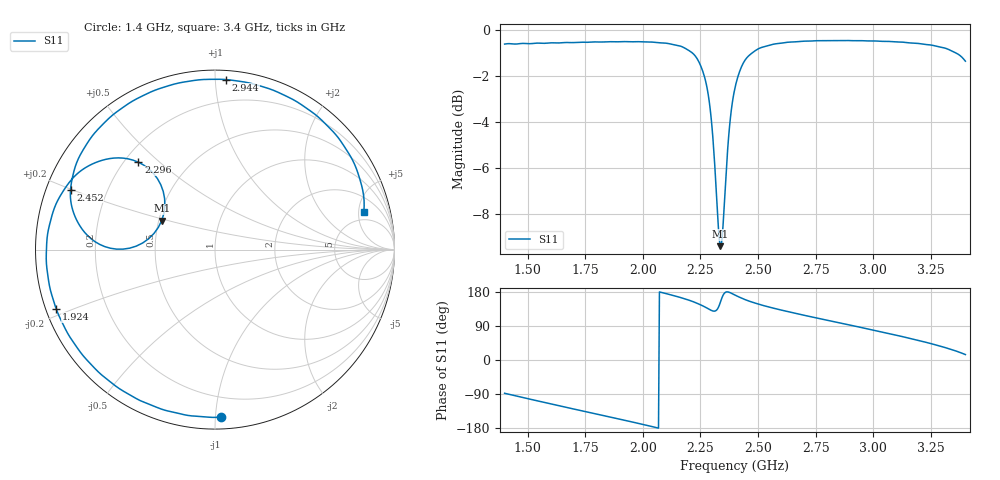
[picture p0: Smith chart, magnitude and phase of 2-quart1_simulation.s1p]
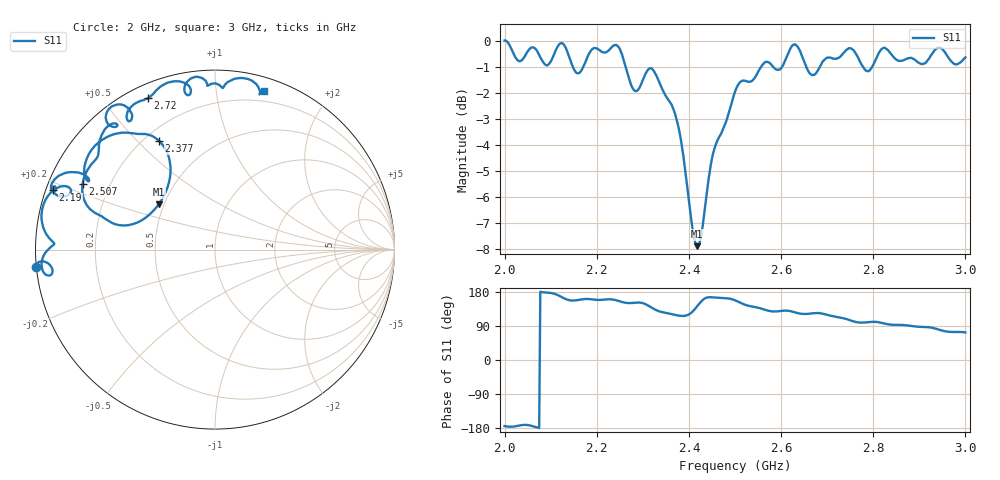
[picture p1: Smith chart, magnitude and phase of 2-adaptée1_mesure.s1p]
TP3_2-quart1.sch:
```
<Qucs Schematic 0.0.19>
<Properties>
  <View=0,0,1569,800,1,20,0>
  <Grid=10,10,1>
  <DataSet=TP3_2-quart1.dat>
  <DataDisplay=TP3_2-quart1.dpl>
  <OpenDisplay=1>
  <Script=TP3_2-quart1.m>
  <RunScript=0>
  <showFrame=0>
  <FrameText0=Titre>
  <FrameText1=Auteur :>
  <FrameText2=Date :>
  <FrameText3=Version :>
</Properties>
<Symbol>
</Symbol>
<Components>
  <GND * 1 1170 390 0 0 0 0>
  <GND * 1 1100 390 0 0 0 0>
  <Pac P1 1 1100 360 -94 -26 1 1 "2" 1 "50 Ohm" 1 "0 dBm" 0 "1 GHz" 0 "26.85" 0>
  <.SP SP1 1 160 240 0 77 0 0 "lin" 1 "2 GHz" 1 "3 GHz" 1 "400" 1 "no" 0 "1" 0 "2" 0 "no" 0 "no" 0>
  <Eqn Eqn1 1 400 280 -31 19 0 0 "S11_Simulation=S[1,1]" 1 "S11_Mesure=S[2,2]" 1 "dB_S11_Simulation=dB(S11_Simulation)" 1 "dB_S11_Mesure=dB(S11_Mesure)" 1 "yes" 0>
  <GND * 1 890 390 0 0 0 0>
  <GND * 1 820 390 0 0 0 0>
  <Pac P2 1 820 360 -94 -26 1 1 "1" 1 "50 Ohm" 1 "0 dBm" 0 "1 GHz" 0 "26.85" 0>
  <SPfile X2 1 890 330 -26 -67 0 0 "2-quart1_simulation.s1p" 1 "rectangular" 0 "linear" 0 "open" 0 "1" 0>
  <SPfile X1 1 1170 330 -26 -67 0 0 "2-adaptée1_mesure.s1p" 1 "rectangular" 0 "linear" 0 "open" 0 "1" 0>
</Components>
<Wires>
  <1170 360 1170 390 "" 0 0 0 "">
  <1100 330 1140 330 "" 0 0 0 "">
  <890 360 890 390 "" 0 0 0 "">
  <820 330 860 330 "" 0 0 0 "">
</Wires>
<Diagrams>
</Diagrams>
<Paintings>
</Paintings>
```
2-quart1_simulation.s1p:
#  Hz  S  RI  R  50
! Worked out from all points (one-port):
!   501 points, 1.4 GHz to 3.4 GHz, reference 50 ohm
!   lowest |S11| = -9.4 dB at 2.336 GHz (marker M1), VSWR 2.02, Z = 25.9 + j9.45 ohm
!   |S11| at or under -10 dB: nowhere
!   S11 on the Smith chart (normalised r, x): 1.4 GHz: 0.07, -1.04; 1.924 GHz: 0.03, -0.18; 2.296 GHz: 0.26, +0.43; 2.452 GHz: 0.07, +0.20; 2.944 GHz: 0.06, +1.07; 3.4 GHz: 3.61, +5.73
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1.4e9  0.0356 -0.9322
1.652e9  -0.5092 -0.7895
1.924e9  -0.8849 -0.33
2.068e9  -0.9393 -0.00348
2.212e9  -0.813 0.3732
2.296e9  -0.4264 0.4867
2.336e9  -0.297 0.1614
2.372e9  -0.5825 0.00757
2.452e9  -0.8048 0.3348
2.576e9  -0.6648 0.6562
2.736e9  -0.3749 0.8704
2.944e9  0.0617 0.9472
3.188e9  0.5656 0.7468
3.4e9  0.8294 0.2119
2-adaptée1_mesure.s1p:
! ZVRE, 3.52
! symbol freq-unit parameter-type data-format keyword impedance-ohm
#  HZ  S  RI  R  50
! freq  reS11  imS11
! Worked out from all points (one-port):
!   401 points, 2 GHz to 3 GHz, reference 50 ohm
!   lowest |S11| = -7.9 dB at 2.417 GHz (marker M1), VSWR 2.35, Z = 23.4 + j14.1 ohm
!   |S11| at or under -10 dB: nowhere
!   S11 on the Smith chart (normalised r, x): 2 GHz: -0.00, -0.05; 2.19 GHz: 0.02, +0.18; 2.377 GHz: 0.26, +0.58; 2.507 GHz: 0.10, +0.23; 2.72 GHz: 0.06, +0.65; 3 GHz: 0.11, +1.35
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2e9  -0.9954 -0.0986
2.05e9  -0.9428 -0.1399
2.1375e9  -0.8797 0.3431
2.19e9  -0.9037 0.3304
2.2925e9  -0.7132 0.3853
2.335e9  -0.5213 0.651
2.3775e9  -0.3113 0.6056
2.4175e9  -0.3132 0.2529
2.445e9  -0.5417 0.138
2.5075e9  -0.7376 0.3666
2.5725e9  -0.5835 0.696
2.6675e9  -0.4691 0.7185
2.72e9  -0.3722 0.8437
3e9  0.2749 0.8862
